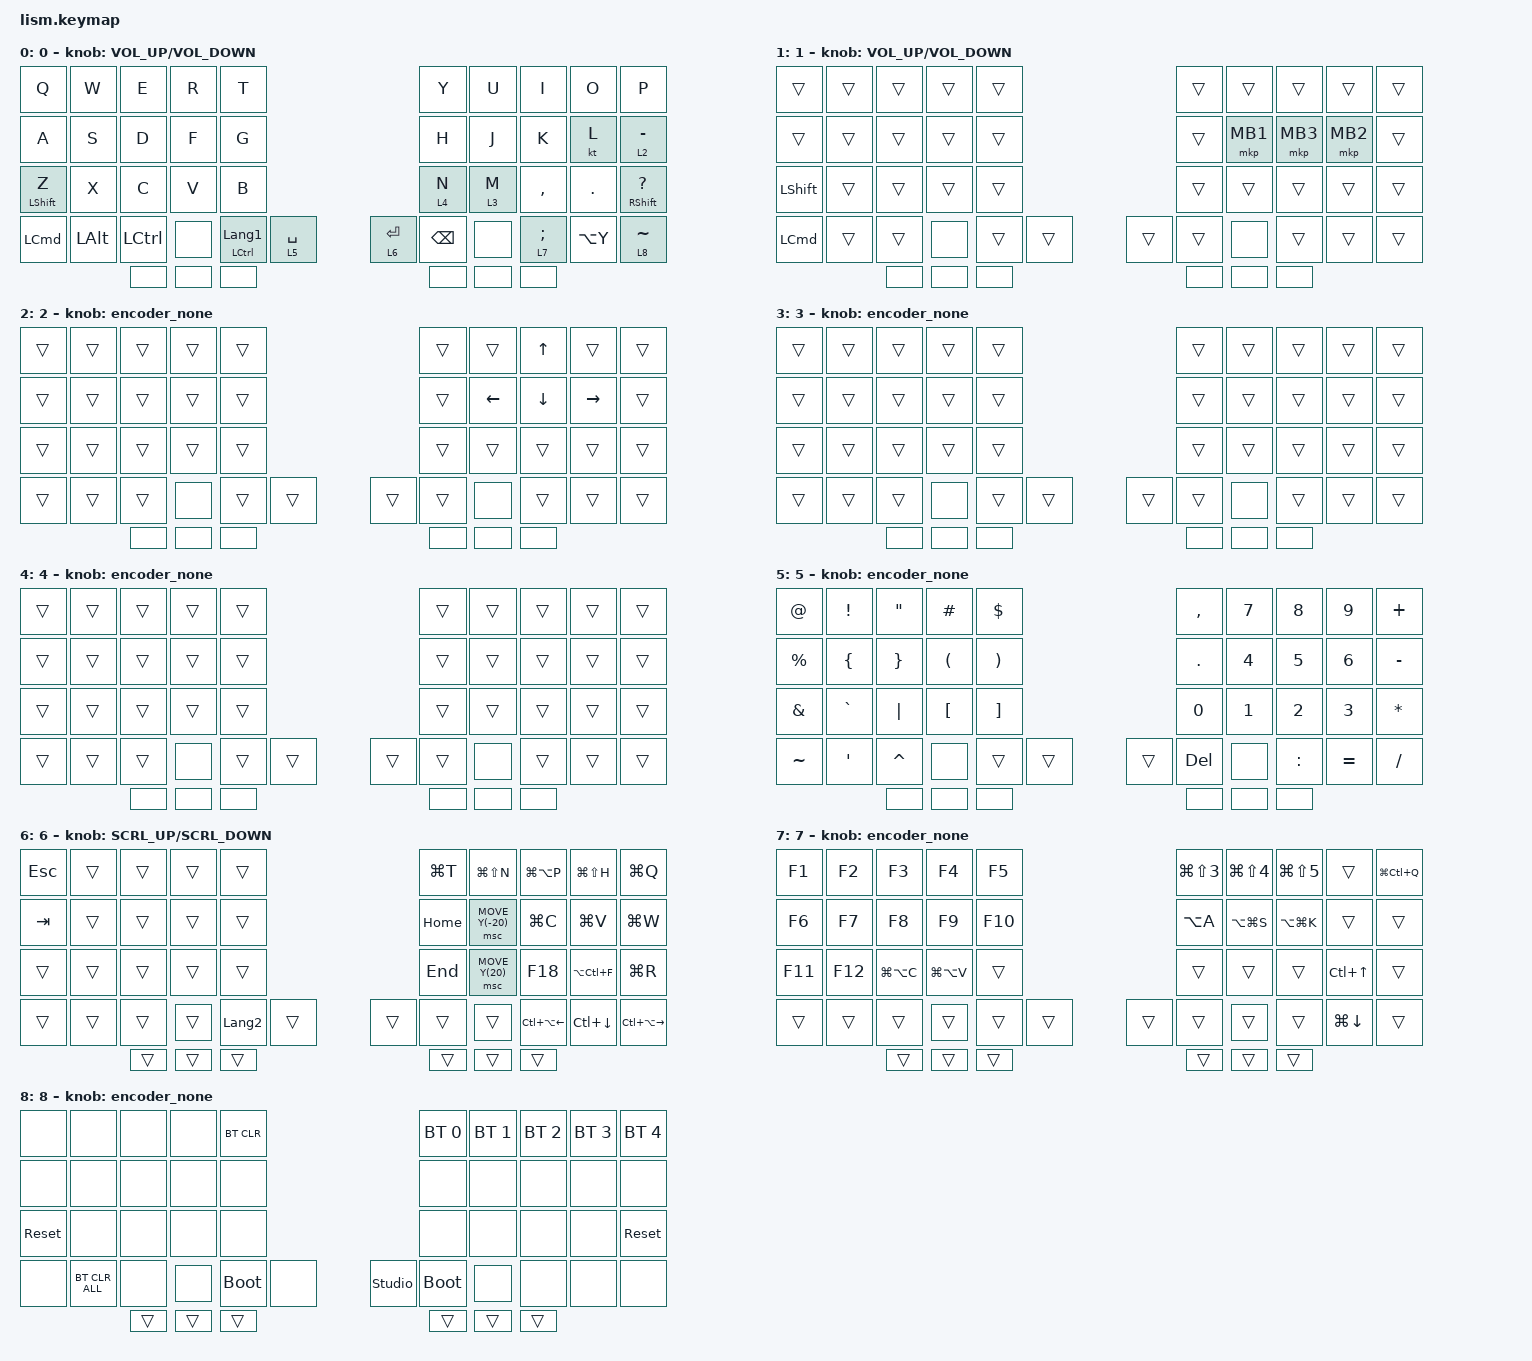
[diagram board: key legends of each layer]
#define ZMK_POINTING_DEFAULT_SCRL_VAL 200

#include <dt-bindings/zmk/mouse.h>
#include <behaviors.dtsi>
#include <dt-bindings/zmk/bt.h>
#include <dt-bindings/zmk/keys.h>
#include <dt-bindings/zmk/pointing.h>

&mt {
    tapping-term-ms = <300>;
    flavor = "balanced";
};

&lt { quick-tap-ms = <300>; };

/ {
    macros {
        emoji: emoji_macro {
            compatible = "zmk,behavior-macro";
            label = "EMOJI";
            #binding-cells = <0>;
            bindings =
                <&macro_press>,
                <&kp CAPSLOCK>,
                <&macro_tap>,
                <&kp E>,
                <&macro_release>,
                <&kp CAPSLOCK>;
        };
    };

    behaviors {
        encoder_key_divider: encoder_key_divider {
            compatible = "zmk,behavior-encoder-key-divider";
            #binding-cells = <1>;
            bindings = <&kp>;
            divisor = <2>;
            display-name = "Encoder Divided Key Press";
        };

        encoder_msc: sensor_rotate_msc {
            compatible = "zmk,behavior-sensor-rotate-var";
            #sensor-binding-cells = <2>;
            bindings = <&msc>, <&msc>;

            tap-ms = <20>;
        };

        encoder_kp: sensor_rotate_kp {
            compatible = "zmk,behavior-sensor-rotate-var";
            #sensor-binding-cells = <2>;
            bindings = <&encoder_key_divider>, <&encoder_key_divider>;
        };

        encoder_none: sensor_rotate_none {
            compatible = "zmk,behavior-sensor-rotate";
            #sensor-binding-cells = <0>;
            bindings = <&none>, <&none>;
        };
    };

    keymap {
        compatible = "zmk,keymap";

        default_layer {
            display-name = "0";
            bindings = <
&kp Q             &kp W         &kp E             &kp R  &kp T                                                    &kp Y          &kp U    &kp I            &kp O      &kp P
&kp A             &kp S         &kp D             &kp F  &kp G                                                    &kp H          &kp J    &kp K            &kt L      &lt 2 MINUS
&mt LSHIFT Z      &kp X         &kp C             &kp V  &kp B                                                    &lt 4 N        &lt 3 M  &kp COMMA        &kp DOT    &mt RSHIFT QUESTION
&kp LEFT_COMMAND  &kp LEFT_ALT  &kp LEFT_CONTROL  &none  &mt LEFT_CONTROL LANGUAGE_1  &lt 5 SPACE    &lt 6 ENTER  &kp BACKSPACE  &none    &lt 7 SEMICOLON  &kp LA(Y)  &lt 8 TILDE
                                &none             &none  &none                                                    &none          &none    &none
            >;

            sensor-bindings = <&encoder_kp C_VOLUME_UP C_VOLUME_DOWN>;
        };

        layer_1 {
            display-name = "1";
            bindings = <
&trans            &trans  &trans  &trans  &trans                    &trans  &trans    &trans    &trans    &trans
&trans            &trans  &trans  &trans  &trans                    &trans  &mkp MB1  &mkp MB3  &mkp MB2  &trans
&kp LSHIFT        &trans  &trans  &trans  &trans                    &trans  &trans    &trans    &trans    &trans
&kp LEFT_COMMAND  &trans  &trans  &none   &trans  &trans    &trans  &trans  &none     &trans    &trans    &trans
                          &none   &none   &none                     &none   &none     &none
            >;

            sensor-bindings = <&encoder_kp C_VOLUME_UP C_VOLUME_DOWN>;
        };

        layer_2 {
            display-name = "2";
            bindings = <
&trans  &trans  &trans  &trans  &trans                    &trans  &trans    &kp UP    &trans     &trans
&trans  &trans  &trans  &trans  &trans                    &trans  &kp LEFT  &kp DOWN  &kp RIGHT  &trans
&trans  &trans  &trans  &trans  &trans                    &trans  &trans    &trans    &trans     &trans
&trans  &trans  &trans  &none   &trans  &trans    &trans  &trans  &none     &trans    &trans     &trans
                &none   &none   &none                     &none   &none     &none
            >;

            sensor-bindings = <&encoder_none>;
        };

        layer_3 {
            display-name = "3";
            bindings = <
&trans  &trans  &trans  &trans  &trans                    &trans  &trans  &trans  &trans  &trans
&trans  &trans  &trans  &trans  &trans                    &trans  &trans  &trans  &trans  &trans
&trans  &trans  &trans  &trans  &trans                    &trans  &trans  &trans  &trans  &trans
&trans  &trans  &trans  &none   &trans  &trans    &trans  &trans  &none   &trans  &trans  &trans
                &none   &none   &none                     &none   &none   &none
            >;

            sensor-bindings = <&encoder_none>;
        };

        layer_4 {
            display-name = "4";
            bindings = <
&trans  &trans  &trans  &trans  &trans                    &trans  &trans  &trans  &trans  &trans
&trans  &trans  &trans  &trans  &trans                    &trans  &trans  &trans  &trans  &trans
&trans  &trans  &trans  &trans  &trans                    &trans  &trans  &trans  &trans  &trans
&trans  &trans  &trans  &none   &trans  &trans    &trans  &trans  &none   &trans  &trans  &trans
                &none   &none   &none                     &none   &none   &none
            >;

            sensor-bindings = <&encoder_none>;
        };

        layer_5 {
            display-name = "5";
            bindings = <
&kp AT_SIGN    &kp EXCLAMATION  &kp DOUBLE_QUOTES  &kp HASH              &kp DOLLAR                               &kp COMMA     &kp NUMBER_7  &kp NUMBER_8  &kp NUMBER_9  &kp PLUS
&kp PERCENT    &kp LEFT_BRACE   &kp RIGHT_BRACE    &kp LEFT_PARENTHESIS  &kp RIGHT_PARENTHESIS                    &kp PERIOD    &kp NUMBER_4  &kp NUMBER_5  &kp NUMBER_6  &kp MINUS
&kp AMPERSAND  &kp GRAVE        &kp PIPE           &kp LEFT_BRACKET      &kp RIGHT_BRACKET                        &kp NUMBER_0  &kp NUMBER_1  &kp NUMBER_2  &kp NUMBER_3  &kp ASTERISK
&kp TILDE      &kp SQT          &kp CARET          &none                 &trans                 &trans    &trans  &kp DELETE    &none         &kp COLON     &kp EQUAL     &kp SLASH
                                &none              &none                 &none                                    &none         &none         &none
            >;

            sensor-bindings = <&encoder_none>;
        };

        layer_6 {
            display-name = "6";
            bindings = <
&kp ESCAPE  &trans  &trans  &trans  &trans                            &kp LG(T)  &kp LG(LS(N))     &kp LG(LA(P))     &kp LG(LS(H))  &kp LG(Q)
&kp TAB     &trans  &trans  &trans  &trans                            &kp HOME   &msc MOVE_Y(-20)  &kp LG(C)         &kp LG(V)      &kp LG(W)
&trans      &trans  &trans  &trans  &trans                            &kp END    &msc MOVE_Y(20)   &kp F18           &kp LA(LC(F))  &kp LG(R)
&trans      &trans  &trans  &trans  &kp LANGUAGE_2  &trans    &trans  &trans     &trans            &kp LC(LA(LEFT))  &kp LC(DOWN)   &kp LC(LA(RIGHT))
                    &trans  &trans  &trans                            &trans     &trans            &trans
            >;

            sensor-bindings = <&encoder_msc SCRL_UP SCRL_DOWN>;
        };

        layer_7 {
            display-name = "7";
            bindings = <
&kp F1   &kp F2   &kp F3         &kp F4         &kp F5                     &kp LG(LS(NUMBER_3))  &kp LG(LS(NUMBER_4))  &kp LG(LS(NUMBER_5))  &trans        &kp LG(LC(Q))
&kp F6   &kp F7   &kp F8         &kp F9         &kp F10                    &kp LA(A)             &kp LA(LG(S))         &kp LA(LG(K))         &trans        &trans
&kp F11  &kp F12  &kp LG(LA(C))  &kp LG(LA(V))  &trans                     &trans                &trans                &trans                &kp LC(UP)    &trans
&trans   &trans   &trans         &trans         &trans   &trans    &trans  &trans                &trans                &trans                &kp LG(DOWN)  &trans
                  &trans         &trans         &trans                     &trans                &trans                &trans
            >;

            sensor-bindings = <&encoder_none>;
        };

        layer_8 {
            display-name = "8";
            bindings = <
&none       &none           &none   &none   &bt BT_CLR                            &bt BT_SEL 0  &bt BT_SEL 1  &bt BT_SEL 2  &bt BT_SEL 3  &bt BT_SEL 4
&none       &none           &none   &none   &none                                 &none         &none         &none         &none         &none
&sys_reset  &none           &none   &none   &none                                 &none         &none         &none         &none         &sys_reset
&none       &bt BT_CLR_ALL  &none   &none   &bootloader  &none    &studio_unlock  &bootloader   &none         &none         &none         &none
                            &trans  &trans  &trans                                &trans        &trans        &trans
            >;

            sensor-bindings = <&encoder_none>;
        };
    };
};
